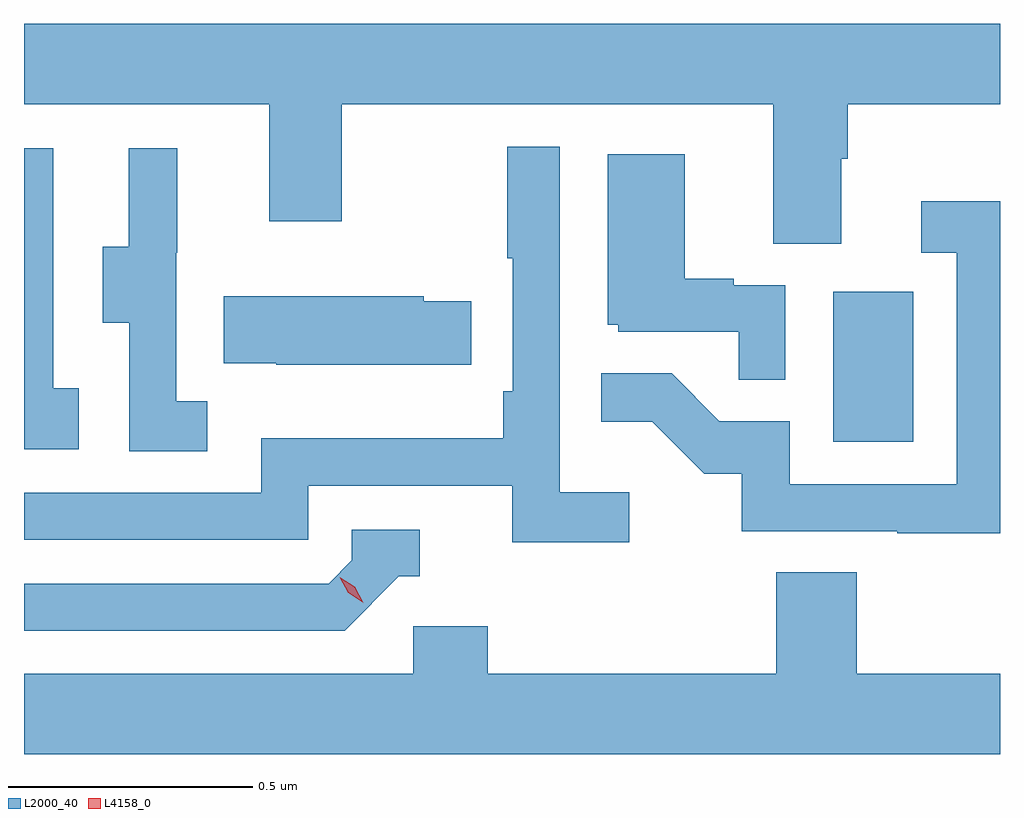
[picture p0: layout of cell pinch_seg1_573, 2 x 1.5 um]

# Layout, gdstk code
import gdstk
lib = gdstk.Library(unit=1e-6, precision=1e-09)
def R(c, l, rs):  # rectangles x0, y0, x1, y1
    for r in rs: c.add(gdstk.rectangle(r[:2], r[2:], *l))
def P(c, l, *ps):  # polygons
    for p in ps: c.add(gdstk.Polygon(p, *l))
L2000_40 = (2000, 40)
L4158_0 = (4158, 0)

pinch_seg1_573 = lib.new_cell('pinch_seg1_573')
R(pinch_seg1_573, L2000_40, [(1020.95,523.068,1021.114,523.375)])
P(pinch_seg1_573, L2000_40, [(1020.967,523.648),(1020.98,523.648),(1020.98,523.76),(1021.292,523.76),(1021.292,523.924),(1019.292,523.924),(1019.292,523.76),(1019.795,523.76),(1019.795,523.52),(1019.943,523.52),(1019.943,523.76),(1020.827,523.76),(1020.827,523.474),(1020.967,523.474)],
  [(1020.532,522.964),(1020.39,522.964),(1020.39,523.672),(1020.282,523.672),(1020.282,523.444),(1020.294,523.444),(1020.294,523.171),(1020.274,523.171),(1020.274,523.075),(1019.778,523.075),(1019.778,522.963),(1019.292,522.963),(1019.292,522.867),(1019.874,522.867),(1019.874,522.978),(1020.293,522.978),(1020.293,522.862),(1020.532,522.862)],
  [(1019.404,523.178),(1019.352,523.178),(1019.352,523.669),(1019.292,523.669),(1019.292,523.053),(1019.404,523.053)],
  [(1019.668,523.151),(1019.604,523.151),(1019.604,523.455),(1019.606,523.455),(1019.606,523.669),(1019.507,523.669),(1019.507,523.467),(1019.453,523.467),(1019.453,523.312),(1019.508,523.312),(1019.508,523.048),(1019.668,523.048)],
  [(1020.852,523.389),(1020.746,523.389),(1020.746,523.402),(1020.646,523.402),(1020.646,523.657),(1020.488,523.657),(1020.488,523.308),(1020.51,523.308),(1020.51,523.293),(1020.757,523.293),(1020.757,523.195),(1020.852,523.195)],
  [(1021.292,523.561),(1021.131,523.561),(1021.131,523.455),(1021.203,523.455),(1021.203,522.981),(1020.861,522.981),(1020.861,523.11),(1020.717,523.11),(1020.619,523.208),(1020.475,523.208),(1020.475,523.109),(1020.579,523.109),(1020.686,523.002),(1020.763,523.002),(1020.763,522.885),(1021.081,522.885),(1021.081,522.88),(1021.292,522.88)],
  [(1020.209,523.356),(1020.111,523.356),(1020.111,523.366),(1019.701,523.366),(1019.701,523.229),(1019.809,523.229),(1019.809,523.226),(1020.209,523.226)],
  [(1020.06,522.792),(1020.103,522.792),(1020.103,522.888),(1019.964,522.888),(1019.964,522.825),(1019.916,522.777),(1019.292,522.777),(1019.292,522.681),(1019.949,522.681)],
  [(1021.292,522.592),(1020.998,522.592),(1020.998,522.8),(1020.833,522.8),(1020.833,522.592),(1020.242,522.592),(1020.242,522.69),(1020.09,522.69),(1020.09,522.592),(1019.292,522.592),(1019.292,522.428),(1021.292,522.428)])
P(pinch_seg1_573, L4158_0, [(1019.987,522.738),(1019.956,522.758),(1019.939,522.79),(1019.939,522.79),(1019.939,522.79),(1019.97,522.771),(1019.987,522.738),(1019.987,522.738)])

lib.write_gds('pinch_seg1_573.gds')
